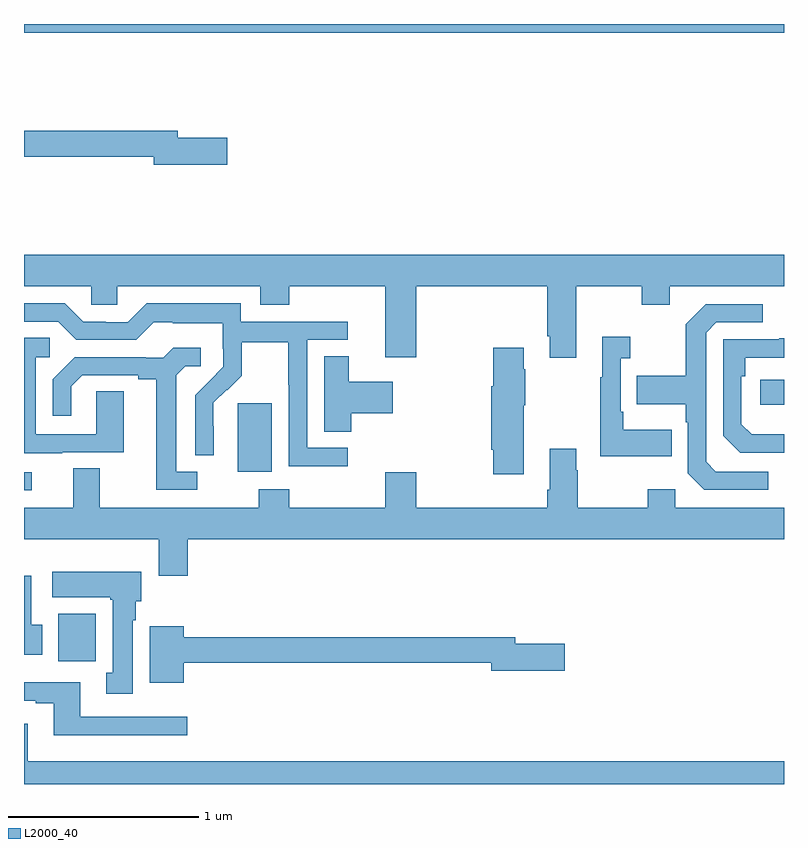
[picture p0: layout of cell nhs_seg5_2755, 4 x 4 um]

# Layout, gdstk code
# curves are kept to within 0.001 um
import gdstk
lib = gdstk.Library(unit=1e-6, precision=1e-09)
def R(c, l, rs):  # rectangles x0, y0, x1, y1
    for r in rs: c.add(gdstk.rectangle(r[:2], r[2:], *l))
def P(c, l, *ps):  # polygons
    for p in ps: c.add(gdstk.Polygon(p, *l))
L2000_40 = (2000, 40)

nhs_seg5_2755 = lib.new_cell('nhs_seg5_2755')
R(nhs_seg5_2755, L2000_40, [(271.181,861.444,271.377,861.694), (271,862.344,271.042,862.44), (272.126,862.442,272.305,862.803), (274.875,862.796,275,862.926), (271,864.752,275,864.799)])
P(nhs_seg5_2755, L2000_40, [(272.071,864.2),(271.81,864.2),(271.81,864.236),(271,864.236),(271,864.1),(271.682,864.1),(271.682,864.058),(272.071,864.058)],
  [(273.907,863.42),(274.252,863.42),(274.252,863.321),(274.399,863.321),(274.399,863.42),(275,863.42),(275,863.584),(271,863.584),(271,863.42),(271.353,863.42),(271.353,863.322),(271.491,863.322),(271.491,863.42),(272.243,863.42),(272.243,863.321),(272.396,863.321),(272.396,863.42),(272.9,863.42),(272.9,863.046),(273.064,863.046),(273.064,863.42),(273.755,863.42),(273.755,863.155),(273.767,863.155),(273.767,863.043),(273.907,863.043)],
  [(272.704,862.569),(272.49,862.569),(272.49,863.136),(272.704,863.136),(272.704,863.232),(272.142,863.232),(272.142,863.329),(271.645,863.329),(271.545,863.229),(271.43,863.229),(271.43,863.232),(271.311,863.232),(271.215,863.328),(271,863.328),(271,863.232),(271.179,863.232),(271.275,863.136),(271.59,863.136),(271.683,863.229),(271.783,863.229),(271.783,863.225),(272.046,863.225),(272.046,863.091),(272.048,863.091),(272.048,862.994),(271.902,862.846),(271.902,862.528),(271.998,862.528),(271.997,862.805),(272.067,862.875),(272.07,862.872),(272.147,862.949),(272.147,863.124),(272.392,863.124),(272.392,862.9),(272.394,862.9),(272.394,862.471),(272.704,862.471)],
  [(274.918,862.443),(274.641,862.443),(274.59,862.494),(274.59,863.175),(274.644,863.229),(274.888,863.229),(274.888,863.325),(274.587,863.325),(274.482,863.219),(274.482,862.947),(274.225,862.947),(274.225,862.799),(274.482,862.799),(274.482,862.703),(274.494,862.703),(274.494,862.434),(274.581,862.347),(274.918,862.347)],
  [(274.409,862.663),(274.153,862.663),(274.153,862.759),(274.14,862.759),(274.14,863.039),(274.192,863.039),(274.192,863.152),(274.043,863.152),(274.043,862.939),(274.032,862.939),(274.032,862.523),(274.409,862.523)],
  [(271.201,862.545),(271.525,862.545),(271.525,862.865),(271.38,862.865),(271.38,862.641),(271.062,862.641),(271.062,863.046),(271.135,863.046),(271.135,863.147),(271,863.147),(271,862.541),(271.201,862.541)],
  [(275,862.639),(274.829,862.639),(274.776,862.692),(274.776,862.946),(274.796,862.946),(274.796,863.043),(275,863.043),(275,863.144),(274.975,863.144),(274.975,863.139),(274.68,863.139),(274.68,862.632),(274.77,862.542),(275,862.542)],
  [(271.912,862.443),(271.801,862.443),(271.801,862.951),(271.848,862.998),(271.93,862.998),(271.93,863.095),(271.786,863.095),(271.734,863.043),(271.64,863.043),(271.64,863.046),(271.268,863.046),(271.152,862.93),(271.152,862.737),(271.249,862.737),(271.249,862.893),(271.306,862.95),(271.601,862.95),(271.601,862.928),(271.697,862.928),(271.697,862.347),(271.912,862.347)],
  [(273.631,862.793),(273.639,862.793),(273.639,862.982),(273.631,862.982),(273.631,863.095),(273.469,863.095),(273.469,862.893),(273.458,862.893),(273.458,862.557),(273.469,862.557),(273.469,862.428),(273.631,862.428)],
  [(272.723,862.75),(272.941,862.75),(272.941,862.915),(272.71,862.915),(272.71,863.051),(272.579,863.051),(272.579,862.654),(272.723,862.654)],
  [(271.862,862.088),(275,862.088),(275,862.252),(274.428,862.252),(274.428,862.351),(274.282,862.351),(274.282,862.252),(273.915,862.252),(273.915,862.451),(273.907,862.451),(273.907,862.564),(273.767,862.564),(273.767,862.348),(273.755,862.348),(273.755,862.252),(273.064,862.252),(273.064,862.441),(272.9,862.441),(272.9,862.252),(272.396,862.252),(272.396,862.351),(272.236,862.351),(272.236,862.252),(271.399,862.252),(271.399,862.46),(271.259,862.46),(271.259,862.252),(271,862.252),(271,862.088),(271.709,862.088),(271.709,861.894),(271.862,861.894)],
  [(271.573,861.662),(271.588,861.662),(271.588,861.762),(271.618,861.762),(271.618,861.916),(271.149,861.916),(271.149,861.782),(271.453,861.782),(271.453,861.769),(271.466,861.769),(271.466,861.385),(271.433,861.385),(271.433,861.273),(271.573,861.273)],
  [(271.096,861.636),(271.039,861.636),(271.039,861.895),(271,861.895),(271,861.48),(271.096,861.48)],
  [(271.84,861.436),(273.458,861.436),(273.458,861.394),(273.847,861.394),(273.847,861.536),(273.586,861.536),(273.586,861.572),(271.84,861.572),(271.84,861.628),(271.661,861.628),(271.661,861.332),(271.84,861.332)],
  [(271.858,861.153),(271.297,861.153),(271.297,861.334),(271,861.334),(271,861.237),(271.061,861.237),(271.061,861.225),(271.157,861.225),(271.157,861.056),(271.858,861.056)],
  [(275,860.92),(271.021,860.92),(271.021,861.115),(271,861.115),(271,860.799),(275,860.799)])

lib.write_gds('nhs_seg5_2755.gds')
